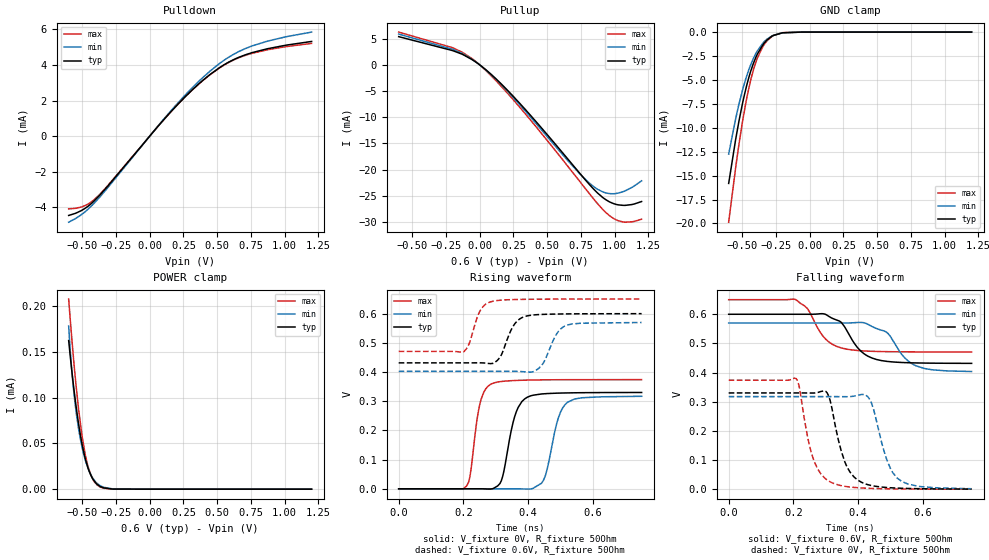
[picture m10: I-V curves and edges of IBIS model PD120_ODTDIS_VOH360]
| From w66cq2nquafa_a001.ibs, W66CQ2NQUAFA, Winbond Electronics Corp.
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[Model]   PD120_ODTDIS_VOH360
Model_type   I/O
Polarity   Non-Inverting
Enable   Active-Low
Vinl = 0.11
Vinh = 0.25
Vmeas = 0.18
Vref = 0
Cref = 0pF
|   typ   min   max
C_comp   0.85pF   0.80pF   0.90pF
[Voltage Range]   0.6   0.57   0.65
[Temperature Range]   25   95   -40
[Pullup Reference]   0.6   0.57   0.65
[Pulldown Reference]   0   0   0
[Power Clamp Reference]   0.6   0.57   0.65
[GND Clamp Reference]   0   0   0
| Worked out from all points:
|   slope of the pulldown table from 0 to 0.09 V, typ, clamps not added: 112 ohm
|   slope of the pullup table from 0 to 0.09 V, typ, clamps not added: 46.4 ohm
|   GND clamp passes 1 mA (typ) near -0.33 V on its own axis
|   falling waveform, V_fixture 0.6V, R_fixture 50Ohm: 20-80 % time 65.2ps typ, 68.5ps min, 61.4ps max; typ from 0.6 V to 0.432 V
|   rising waveform, V_fixture 0V, R_fixture 50Ohm: 20-80 % time 37.4ps typ, 39.1ps min, 28.4ps max; typ from 0 V to 0.33 V
|   rising waveform, V_fixture 0.6V, R_fixture 50Ohm: 20-80 % time 39.6ps typ, 42.2ps min, 33.1ps max; typ from 0.431 V to 0.6 V
|   falling waveform, V_fixture 0V, R_fixture 50Ohm: 20-80 % time 49.6ps typ, 50.5ps min, 47ps max; typ from 0.33 V to 0 V
[Pulldown]
|   Voltage   I(typ)   I(min)   I(max)
-600mV    -4.454mA   -4.833mA   -4.083mA
-499.9mV  -4.155mA   -4.377mA   -3.964mA
-456.3mV  -3.936mA   -4.102mA   -3.813mA
-411mV    -3.637mA   -3.765mA   -3.568mA
-309.3mV  -2.797mA   -2.883mA   -2.768mA
168.6mV   1.469mA    1.522mA    1.465mA
356.2mV   2.887mA    3.024mA    2.877mA
515.5mV   3.841mA    4.071mA    3.825mA
627.8mV   4.324mA    4.628mA    4.303mA
761.2mV   4.7mA      5.079mA    4.661mA
1.012V    5.116mA    5.591mA    5.035mA
1.2V      5.325mA    5.851mA    5.215mA
[GND Clamp]
|   Voltage   I(typ)   I(min)   I(max)
-600mV    -15.82mA   -12.76mA   -19.87mA
-546.1mV  -11.05mA   -8.92mA    -13.94mA
-499.3mV  -7.573mA   -6.166mA   -9.508mA
-475.2mV  -6.075mA   -4.974mA   -7.564mA
-434.9mV  -4.017mA   -3.356mA   -4.898mA
-389.4mV  -2.355mA   -2.01mA    -2.773mA
-345.2mV  -1.302mA   -1.128mA   -1.464mA
-316.6mV  -837uA     -743.5uA   -913.3uA
-279.6mV  -427.2uA   -403.8uA   -466.4uA
-198.3mV  -71.72uA   -81.16uA   -59.91uA
-59.4mV   -1.33uA    -3.104uA   -416.9nA
1.2V      0A         0A         0A
[Pullup]
|   Voltage   I(typ)   I(min)   I(max)
-600mV    5.379mA    5.87mA     6.249mA
-198.7mV  2.696mA    2.939mA    3.245mA
-126.9mV  1.989mA    2.135mA    2.369mA
-3.3mV    62.91uA    65.81uA    74.27uA
119.3mV   -2.64mA    -2.748mA   -2.989mA
294.4mV   -7.285mA   -7.554mA   -8.028mA
745.2mV   -20.83mA   -20.9mA    -22.39mA
871.2mV   -24.43mA   -23.74mA   -26.45mA
957.6mV   -26.12mA   -24.59mA   -28.72mA
1.027V    -26.75mA   -24.5mA    -29.78mA
1.129V    -26.69mA   -23.41mA   -29.99mA
1.2V      -26.11mA   -22.16mA   -29.49mA
[POWER Clamp]
|   Voltage   I(typ)   I(min)   I(max)
-600mV    162.4uA    178.3uA    207.7uA
-580.5mV  134.4uA    136.1uA    171uA
-553.8mV  100.5uA    95.2uA     126.4uA
-526.5mV  71.34uA    65.76uA    87.21uA
-499.9mV  48.58uA    45.26uA    57.13uA
-475.2mV  32.49uA    30.83uA    36.2uA
-456.3mV  22.99uA    22.73uA    24.52uA
-434.3mV  14.84uA    15.45uA    14.84uA
-389.4mV  5.359uA    6.374uA    4.582uA
-340.1mV  1.415uA    2.025uA    990.1nA
-267.8mV  138.4nA    321.3nA    21.72nA
1.2V      0A         0A         0A
[Ramp]
R_load = 50
|   typ   min   max
dV/dt_r 1.9798E-01/3.7404E-11   1.9011E-01/3.9035E-11   2.2434E-01/2.8443E-11
dV/dt_f 1.0107E-01/6.4761E-11   9.9875E-02/6.8462E-11   1.0760E-01/6.1259E-11
[Falling Waveform]
V_fixture = 0.6V
V_fixture_min = 0.57V
V_fixture_max = 0.65V
R_fixture = 50Ohm
C_fixture = 0F
|   Time   V(typ)   V(min)   V(max)
0s        600mV      570mV      650mV
206ps     600mV      570mV      650.8mV
243ps     600mV      570mV      619.6mV
296ps     600.9mV    570mV      519mV
347ps     572.7mV    569.9mV    484.7mV
415ps     467.1mV    571.4mV    474.4mV
487ps     438.6mV    538.8mV    471.7mV
543ps     434.2mV    451.2mV    471.1mV
578ps     433mV      423.3mV    470.9mV
750ps     431.6mV    403.5mV    470.7mV
[Rising Waveform]
V_fixture = 0V
V_fixture_min = 0V
V_fixture_max = 0V
R_fixture = 50Ohm
C_fixture = 0F
|   Time   V(typ)   V(min)   V(max)
0s        7.087uV    23.45uV    1.39uV
209ps     6.388uV    23.46uV    9.122mV
254ps     16.12uV    23.53uV    304.5mV
291ps     592.8uV    22.68uV    361.6mV
321ps     42.14mV    31.98uV    368.2mV
363ps     263.4mV    23.09uV    371.2mV
397ps     313.6mV    -1.04mV    372.3mV
447ps     325.3mV    29.08mV    373.2mV
520ps     328.4mV    295.2mV    373.7mV
750ps     330mV      316.9mV    373.9mV
[Rising Waveform]
V_fixture = 0.6V
V_fixture_min = 0.57V
V_fixture_max = 0.65V
R_fixture = 50Ohm
C_fixture = 0F
|   Time   V(typ)   V(min)   V(max)
0s        431.4mV    402.3mV    470.7mV
200ps     431.4mV    402.3mV    469.1mV
254ps     431.5mV    402.3mV    614.8mV
291ps     429.6mV    402.3mV    642.6mV
317ps     458.7mV    402.3mV    646.3mV
358ps     564.6mV    402.4mV    648.4mV
388ps     589.7mV    400.8mV    649mV
441ps     597.3mV    422.1mV    649.6mV
513ps     599.1mV    557.6mV    649.9mV
750ps     600mV      569.7mV    650mV
[Falling Waveform]
|Gnd
V_fixture = 0V
V_fixture_min = 0V
V_fixture_max = 0V
R_fixture = 50Ohm
C_fixture = 0F
|   Time   V(typ)   V(min)   V(max)
0s        330mV      317.5mV    373.9mV
208ps     330mV      317.5mV    379.4mV
263ps     329.8mV    317.5mV    98.18mV
300ps     335.4mV    317.5mV    34.75mV
320ps     270.2mV    317.5mV    21.44mV
358ps     95.32mV    317.2mV    9.973mV
409ps     24.26mV    324.7mV    4.147mV
441ps     12.38mV    294.9mV    2.494mV
520ps     3.703mV    38.37mV    735.4uV
750ps     204.2uV    1.482mV    -12.8uV
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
